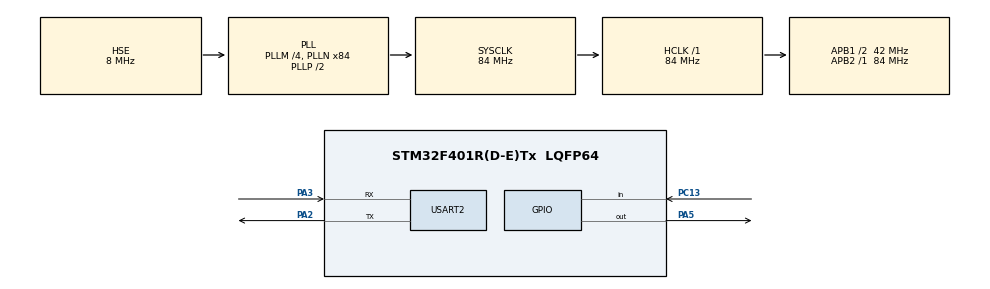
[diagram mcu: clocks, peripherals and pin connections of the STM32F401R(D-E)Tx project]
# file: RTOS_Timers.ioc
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FREERTOS.Tasks01=defaultTask,0,128,StartDefaultTask,Default,NULL,Dynamic,NULL,NULL
FREERTOS.configTIMER_TASK_PRIORITY=6
FREERTOS.configUSE_TIMERS=1
Mcu.Family=STM32F4
Mcu.Name=STM32F401R(D-E)Tx
Mcu.Package=LQFP64
NVIC.PriorityGroup=NVIC_PRIORITYGROUP_4
NVIC.TIM3_IRQn=true\:0\:0\:false\:false\:true\:false\:false\:true
NVIC.TimeBase=TIM3_IRQn
NVIC.TimeBaseIP=TIM3
PA2.Mode=Asynchronous
PA2.Signal=USART2_TX
PA3.Mode=Asynchronous
PA3.Signal=USART2_RX
PA5.Signal=GPIO_Output
PC13-ANTI_TAMP.Signal=GPIO_Input
PH0\ -\ OSC_IN.Mode=HSE-External-Oscillator
PH0\ -\ OSC_IN.Signal=RCC_OSC_IN
PH1\ -\ OSC_OUT.Mode=HSE-External-Oscillator
PH1\ -\ OSC_OUT.Signal=RCC_OSC_OUT
ProjectManager.HeapSize=0x200
ProjectManager.StackSize=0x400
ProjectManager.TargetToolchain=STM32CubeIDE
RCC.48MHZClocksFreq_Value=42000000
RCC.AHBFreq_Value=84000000
RCC.APB1CLKDivider=RCC_HCLK_DIV2
RCC.APB1Freq_Value=42000000
RCC.APB1TimFreq_Value=84000000
RCC.APB2Freq_Value=84000000
RCC.APB2TimFreq_Value=84000000
RCC.CortexFreq_Value=84000000
RCC.HCLKFreq_Value=84000000
RCC.HSE_VALUE=8000000
RCC.HSI_VALUE=16000000
RCC.LSE_VALUE=32768
RCC.PLLM=4
RCC.PLLN=84
RCC.PLLSourceVirtual=RCC_PLLSOURCE_HSE
RCC.SYSCLKFreq_VALUE=84000000
RCC.SYSCLKSource=RCC_SYSCLKSOURCE_PLLCLK
RCC.VCOOutputFreq_Value=168000000
USART2.VirtualMode=VM_ASYNC
VP_FREERTOS_VS_CMSIS_V1.Mode=CMSIS_V1
VP_SYS_VS_tim3.Mode=TIM3
board=custom

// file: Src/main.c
/* USER CODE BEGIN Header */
/**
  ******************************************************************************
  * @file           : main.c
  * @brief          : Main program body
  ******************************************************************************
  * @attention
  *
  * <h2><center>&copy; Copyright (c) 2021 STMicroelectronics.
  * All rights reserved.</center></h2>
  *
  * This software component is licensed by ST under Ultimate Liberty license
  * SLA0044, the "License"; You may not use this file except in compliance with
  * the License. You may obtain a copy of the License at:
  *                             www.st.com/SLA0044
  *
  ******************************************************************************
  */
/* USER CODE END Header */
#include "main.h"

#include "FreeRTOS.h"
#include "task.h"
#include "timers.h"
#include "queue.h"
#include "semphr.h"
#include "event_groups.h"

UART_HandleTypeDef huart2;

// create handler
xTimerHandle PThandler;
xTimerHandle OSThandler;

xTaskHandle UARThandler;
xTaskHandle LEDhandler;

void SystemClock_Config(void);
static void MX_GPIO_Init(void);
static void MX_USART2_UART_Init(void);

void TimerCallback(xTimerHandle handle);
/* USER CODE BEGIN PFP */

void LED(void *argument);
void UART(void *argument);

/* USER CODE END PFP */

int main(void)
{

  /* MCU Configuration--------------------------------------------------------*/

  /* Reset of all peripherals, Initializes the Flash interface and the Systick. */
  HAL_Init();

  /* Configure the system clock */
  SystemClock_Config();

  /* Initialize all configured peripherals */
  MX_GPIO_Init();
  MX_USART2_UART_Init();
  /* USER CODE BEGIN 2 */
//************************timer create************************************
  PThandler = xTimerCreate("P_timer", pdMS_TO_TICKS(1000), pdTRUE, 1, TimerCallback);
  OSThandler = xTimerCreate("O_timer", pdMS_TO_TICKS(5000), pdFALSE, 2, TimerCallback);

  //*********************Tasks create********************

  xTaskCreate(UART,"UART", 128, NULL, 1, &UARThandler);
  xTaskCreate(LED, "LED", 128, NULL, 1, &LEDhandler);
  /* USER CODE END 2 */

  /* Start scheduler */
  vTaskStartScheduler();

  /* We should never get here as control is now taken by the scheduler */
  /* Infinite loop */
  while (1)
  {

  }
}

void SystemClock_Config(void)
{
  RCC_OscInitTypeDef RCC_OscInitStruct = {0};
  RCC_ClkInitTypeDef RCC_ClkInitStruct = {0};

  /** Configure the main internal regulator output voltage
  */
  __HAL_RCC_PWR_CLK_ENABLE();
  __HAL_PWR_VOLTAGESCALING_CONFIG(PWR_REGULATOR_VOLTAGE_SCALE2);
  /** Initializes the RCC Oscillators according to the specified parameters
  * in the RCC_OscInitTypeDef structure.
  */
  RCC_OscInitStruct.OscillatorType = RCC_OSCILLATORTYPE_HSE;
  RCC_OscInitStruct.HSEState = RCC_HSE_ON;
  RCC_OscInitStruct.PLL.PLLState = RCC_PLL_ON;
  RCC_OscInitStruct.PLL.PLLSource = RCC_PLLSOURCE_HSE;
  RCC_OscInitStruct.PLL.PLLM = 4;
  RCC_OscInitStruct.PLL.PLLN = 84;
  RCC_OscInitStruct.PLL.PLLP = RCC_PLLP_DIV2;
  RCC_OscInitStruct.PLL.PLLQ = 4;
  if (HAL_RCC_OscConfig(&RCC_OscInitStruct) != HAL_OK)
  {
    Error_Handler();
  }
  /** Initializes the CPU, AHB and APB buses clocks
  */
  RCC_ClkInitStruct.ClockType = RCC_CLOCKTYPE_HCLK|RCC_CLOCKTYPE_SYSCLK
                              |RCC_CLOCKTYPE_PCLK1|RCC_CLOCKTYPE_PCLK2;
  RCC_ClkInitStruct.SYSCLKSource = RCC_SYSCLKSOURCE_PLLCLK;
  RCC_ClkInitStruct.AHBCLKDivider = RCC_SYSCLK_DIV1;
  RCC_ClkInitStruct.APB1CLKDivider = RCC_HCLK_DIV2;
  RCC_ClkInitStruct.APB2CLKDivider = RCC_HCLK_DIV1;

  if (HAL_RCC_ClockConfig(&RCC_ClkInitStruct, FLASH_LATENCY_2) != HAL_OK)
  {
    Error_Handler();
  }
}

static void MX_USART2_UART_Init(void)
{

  huart2.Instance = USART2;
  huart2.Init.BaudRate = 115200;
  huart2.Init.WordLength = UART_WORDLENGTH_8B;
  huart2.Init.StopBits = UART_STOPBITS_1;
  huart2.Init.Parity = UART_PARITY_NONE;
  huart2.Init.Mode = UART_MODE_TX_RX;
  huart2.Init.HwFlowCtl = UART_HWCONTROL_NONE;
  huart2.Init.OverSampling = UART_OVERSAMPLING_16;
  if (HAL_UART_Init(&huart2) != HAL_OK)
  {
    Error_Handler();
  }

}

static void MX_GPIO_Init(void)
{
  GPIO_InitTypeDef GPIO_InitStruct = {0};

  /* GPIO Ports Clock Enable */
  __HAL_RCC_GPIOC_CLK_ENABLE();
  __HAL_RCC_GPIOH_CLK_ENABLE();
  __HAL_RCC_GPIOA_CLK_ENABLE();

  /*Configure GPIO pin Output Level */
  HAL_GPIO_WritePin(GPIOA, GPIO_PIN_5, GPIO_PIN_RESET);

  /*Configure GPIO pin : PC13 */
  GPIO_InitStruct.Pin = GPIO_PIN_13;
  GPIO_InitStruct.Mode = GPIO_MODE_INPUT;
  GPIO_InitStruct.Pull = GPIO_NOPULL;
  HAL_GPIO_Init(GPIOC, &GPIO_InitStruct);

  /*Configure GPIO pin : PA5 */
  GPIO_InitStruct.Pin = GPIO_PIN_5;
  GPIO_InitStruct.Mode = GPIO_MODE_OUTPUT_PP;
  GPIO_InitStruct.Pull = GPIO_NOPULL;
  GPIO_InitStruct.Speed = GPIO_SPEED_FREQ_LOW;
  HAL_GPIO_Init(GPIOA, &GPIO_InitStruct);

}

/* USER CODE BEGIN 4 */

void LED(void *argument){

	while(1){

		while(!(HAL_GPIO_ReadPin(GPIOC, GPIO_PIN_13))){

			HAL_GPIO_WritePin(GPIOA, GPIO_PIN_5, 1);
			xTimerStart(OSThandler,0);
		}
		vTaskDelay(pdMS_TO_TICKS(20));
	}
}

void UART(void *argument){
	xTimerStart(PThandler,0);
	while(1){

		HAL_UART_Transmit(&huart2, (uint8_t*)"From UART\r\n", 10, 200);
		vTaskDelay(pdMS_TO_TICKS(2000));
	}
}

void TimerCallback(xTimerHandle handle){

	if(handle == PThandler){
		char *data ="from CallBACK\r\n";
		HAL_UART_Transmit(&huart2, data, strlen(data), 300);
	}

	else if(handle == OSThandler){
		HAL_GPIO_WritePin(GPIOA, GPIO_PIN_5, 0);
	}
}

/* USER CODE END 4 */

 /**
  * @brief  Period elapsed callback in non blocking mode
  * @note   This function is called  when TIM3 interrupt took place, inside
  * HAL_TIM_IRQHandler(). It makes a direct call to HAL_IncTick() to increment
  * a global variable "uwTick" used as application time base.
  * @param  htim : TIM handle
  * @retval None
  */
void HAL_TIM_PeriodElapsedCallback(TIM_HandleTypeDef *htim)
{
  if (htim->Instance == TIM3) {
    HAL_IncTick();
  }
}

void Error_Handler(void)
{
  __disable_irq();
  while (1)
  {
  }
}

/************************ (C) COPYRIGHT STMicroelectronics *****END OF FILE****/
